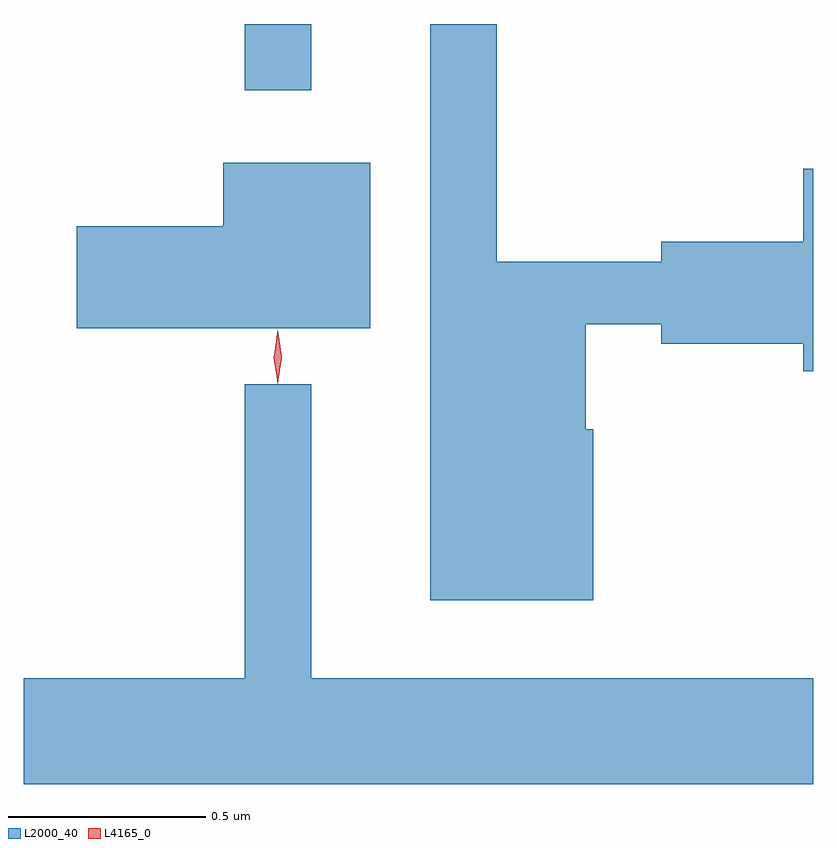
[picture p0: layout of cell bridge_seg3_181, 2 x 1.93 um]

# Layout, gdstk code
import gdstk
lib = gdstk.Library(unit=1e-6, precision=1e-09)
def R(c, l, rs):  # rectangles x0, y0, x1, y1
    for r in rs: c.add(gdstk.rectangle(r[:2], r[2:], *l))
def P(c, l, *ps):  # polygons
    for p in ps: c.add(gdstk.Polygon(p, *l))
L2000_40 = (2000, 40)
L4165_0 = (4165, 0)

bridge_seg3_181 = lib.new_cell('bridge_seg3_181')
R(bridge_seg3_181, L2000_40, [(878.761,1138.873,878.929,1139.041)])
P(bridge_seg3_181, L2000_40, [(879.644,1138.014),(879.624,1138.014),(879.624,1138.281),(879.816,1138.281),(879.816,1138.231),(880.176,1138.231),(880.176,1138.161),(880.201,1138.161),(880.201,1138.674),(880.176,1138.674),(880.176,1138.489),(879.816,1138.489),(879.816,1138.439),(879.399,1138.439),(879.399,1139.041),(879.231,1139.041),(879.231,1137.581),(879.644,1137.581)],
  [(879.079,1138.689),(878.706,1138.689),(878.706,1138.529),(878.336,1138.529),(878.336,1138.271),(879.079,1138.271)],
  [(880.201,1137.384),(878.929,1137.384),(878.929,1138.128),(878.761,1138.128),(878.761,1137.384),(878.201,1137.384),(878.201,1137.116),(880.201,1137.116)])
P(bridge_seg3_181, L4165_0, [(878.844,1138.13),(878.835,1138.198),(878.844,1138.266),(878.844,1138.266),(878.845,1138.266),(878.855,1138.198),(878.845,1138.13),(878.845,1138.13)],
  [(878.844,1138.133),(878.834,1138.196),(878.844,1138.26),(878.844,1138.26),(878.845,1138.26),(878.854,1138.196),(878.845,1138.133),(878.845,1138.133)])

lib.write_gds('bridge_seg3_181.gds')
